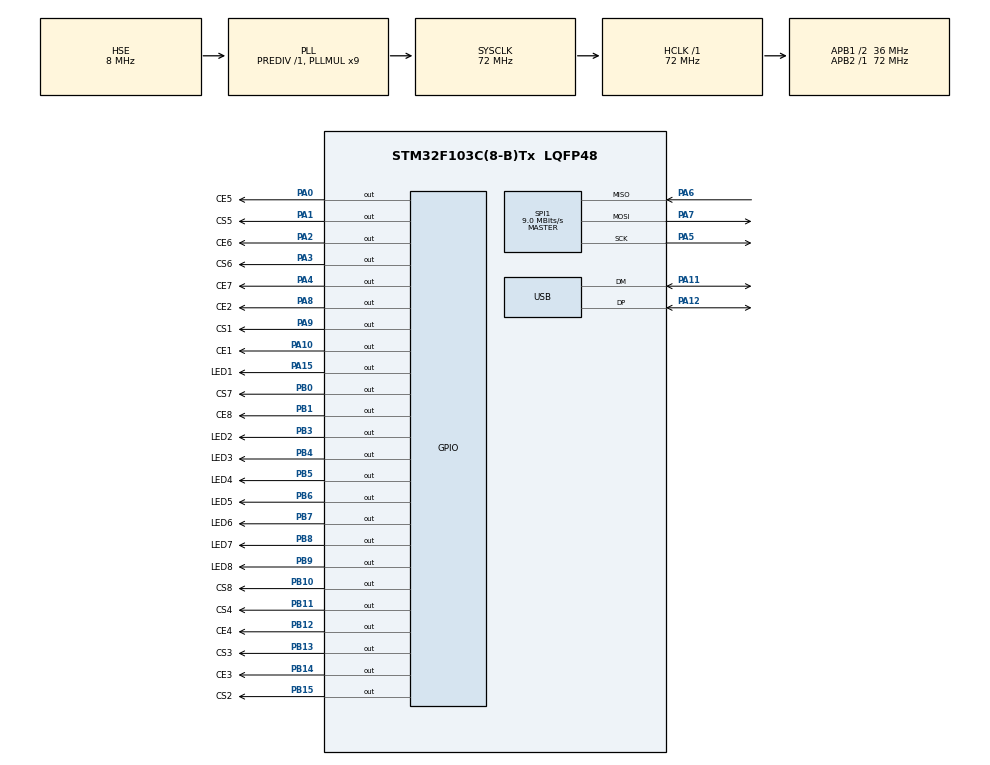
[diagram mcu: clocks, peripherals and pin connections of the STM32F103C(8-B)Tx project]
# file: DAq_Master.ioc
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Mcu.Family=STM32F1
Mcu.Name=STM32F103C(8-B)Tx
Mcu.Package=LQFP48
NVIC.PriorityGroup=NVIC_PRIORITYGROUP_4
NVIC.TIM2_IRQn=true\:0\:0\:false\:false\:true\:true\:true
NVIC.USB_LP_CAN1_RX0_IRQn=true\:0\:0\:false\:false\:true\:false\:true
PA0-WKUP.GPIO_Label=CE5
PA0-WKUP.PinState=GPIO_PIN_SET
PA0-WKUP.Signal=GPIO_Output
PA1.GPIO_Label=CS5
PA1.PinState=GPIO_PIN_RESET
PA1.Signal=GPIO_Output
PA10.GPIO_Label=CE1
PA10.PinState=GPIO_PIN_SET
PA10.Signal=GPIO_Output
PA11.Mode=Device
PA11.Signal=USB_DM
PA12.Mode=Device
PA12.Signal=USB_DP
PA13.Mode=Serial_Wire
PA13.Signal=SYS_JTMS-SWDIO
PA14.Mode=Serial_Wire
PA14.Signal=SYS_JTCK-SWCLK
PA15.GPIO_Label=LED1
PA15.PinState=GPIO_PIN_SET
PA15.Signal=GPIO_Output
PA2.GPIO_Label=CE6
PA2.PinState=GPIO_PIN_SET
PA2.Signal=GPIO_Output
PA3.GPIO_Label=CS6
PA3.PinState=GPIO_PIN_RESET
PA3.Signal=GPIO_Output
PA4.GPIO_Label=CE7
PA4.PinState=GPIO_PIN_SET
PA4.Signal=GPIO_Output
PA5.Mode=Full_Duplex_Master
PA5.Signal=SPI1_SCK
PA6.Mode=Full_Duplex_Master
PA6.Signal=SPI1_MISO
PA7.Mode=Full_Duplex_Master
PA7.Signal=SPI1_MOSI
PA8.GPIO_Label=CE2
PA8.PinState=GPIO_PIN_SET
PA8.Signal=GPIO_Output
PA9.GPIO_Label=CS1
PA9.PinState=GPIO_PIN_RESET
PA9.Signal=GPIO_Output
PB0.GPIO_Label=CS7
PB0.PinState=GPIO_PIN_RESET
PB0.Signal=GPIO_Output
PB1.GPIO_Label=CE8
PB1.PinState=GPIO_PIN_SET
PB1.Signal=GPIO_Output
PB10.GPIO_Label=CS8
PB10.PinState=GPIO_PIN_RESET
PB10.Signal=GPIO_Output
PB11.GPIO_Label=CS4
PB11.PinState=GPIO_PIN_RESET
PB11.Signal=GPIO_Output
PB12.GPIO_Label=CE4
PB12.PinState=GPIO_PIN_SET
PB12.Signal=GPIO_Output
PB13.GPIO_Label=CS3
PB13.PinState=GPIO_PIN_RESET
PB13.Signal=GPIO_Output
PB14.GPIO_Label=CE3
PB14.PinState=GPIO_PIN_SET
PB14.Signal=GPIO_Output
PB15.GPIO_Label=CS2
PB15.PinState=GPIO_PIN_RESET
PB15.Signal=GPIO_Output
PB3.GPIO_Label=LED2
PB3.PinState=GPIO_PIN_SET
PB3.Signal=GPIO_Output
PB4.GPIO_Label=LED3
PB4.PinState=GPIO_PIN_SET
PB4.Signal=GPIO_Output
PB5.GPIO_Label=LED4
PB5.PinState=GPIO_PIN_SET
PB5.Signal=GPIO_Output
PB6.GPIO_Label=LED5
PB6.PinState=GPIO_PIN_SET
PB6.Signal=GPIO_Output
PB7.GPIO_Label=LED6
PB7.PinState=GPIO_PIN_SET
PB7.Signal=GPIO_Output
PB8.GPIO_Label=LED7
PB8.PinState=GPIO_PIN_SET
PB8.Signal=GPIO_Output
PB9.GPIO_Label=LED8
PB9.PinState=GPIO_PIN_SET
PB9.Signal=GPIO_Output
PD0-OSC_IN.Mode=HSE-External-Oscillator
PD0-OSC_IN.Signal=RCC_OSC_IN
PD1-OSC_OUT.Mode=HSE-External-Oscillator
PD1-OSC_OUT.Signal=RCC_OSC_OUT
ProjectManager.HeapSize=0x200
ProjectManager.StackSize=0x400
ProjectManager.TargetToolchain=SW4STM32
RCC.AHBFreq_Value=72000000
RCC.APB1CLKDivider=RCC_HCLK_DIV2
RCC.APB1Freq_Value=36000000
RCC.APB1TimFreq_Value=72000000
RCC.APB2Freq_Value=72000000
RCC.APB2TimFreq_Value=72000000
RCC.HCLKFreq_Value=72000000
RCC.PLLMUL=RCC_PLL_MUL9
RCC.SYSCLKFreq_VALUE=72000000
RCC.SYSCLKSource=RCC_SYSCLKSOURCE_PLLCLK
RCC.USBFreq_Value=48000000
RCC.USBPrescaler=RCC_USBCLKSOURCE_PLL_DIV1_5
SPI1.BaudRatePrescaler=SPI_BAUDRATEPRESCALER_8
SPI1.CalculateBaudRate=9.0 MBits/s
SPI1.Direction=SPI_DIRECTION_2LINES
SPI1.Mode=SPI_MODE_MASTER
SPI1.VirtualType=VM_MASTER
TIM2.AutoReloadPreload=TIM_AUTORELOAD_PRELOAD_ENABLE
TIM2.Period=7200
TIM2.Prescaler=9999
USB_DEVICE.APP_RX_DATA_SIZE=200
USB_DEVICE.APP_TX_DATA_SIZE=200
USB_DEVICE.CLASS_NAME_FS=CDC
USB_DEVICE.MANUFACTURER_STRING=KotEngenharia
USB_DEVICE.PID_CDC_FS=1
USB_DEVICE.PRODUCT_STRING_CDC_FS=DAqMaster
USB_DEVICE.VID=1
USB_DEVICE.VirtualMode=Cdc
USB_DEVICE.VirtualModeFS=Cdc_FS
VP_TIM2_VS_ClockSourceINT.Mode=Internal
VP_TIM3_VS_ClockSourceINT.Mode=Internal
VP_USB_DEVICE_VS_USB_DEVICE_CDC_FS.Mode=CDC_FS
board=Master_21_2.0

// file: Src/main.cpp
/**
 ******************************************************************************
 * @file           : main.c
 * @brief          : Main program body
 ******************************************************************************
 * This notice applies to any and all portions of this file
 * that are not between comment pairs USER CODE BEGIN and
 * USER CODE END. Other portions of this file, whether
 * inserted by the user or by software development tools
 * are owned by their respective copyright owners.
 *
 * Copyright (c) 2018 STMicroelectronics International N.V.
 * All rights reserved.
 *
 * Redistribution and use in source and binary forms, with or without
 * modification, are permitted, provided that the following conditions are met:
 *
 * 1. Redistribution of source code must retain the above copyright notice,
 *    this list of conditions and the following disclaimer.
 * 2. Redistributions in binary form must reproduce the above copyright notice,
 *    this list of conditions and the following disclaimer in the documentation
 *    and/or other materials provided with the distribution.
 * 3. Neither the name of STMicroelectronics nor the names of other
 *    contributors to this software may be used to endorse or promote products
 *    derived from this software without specific written permission.
 * 4. This software, including modifications and/or derivative works of this
 *    software, must execute solely and exclusively on microcontroller or
 *    microprocessor devices manufactured by or for STMicroelectronics.
 * 5. Redistribution and use of this software other than as permitted under
 *    this license is void and will automatically terminate your rights under
 *    this license.
 *
 * THIS SOFTWARE IS PROVIDED BY STMICROELECTRONICS AND CONTRIBUTORS "AS IS"
 * AND ANY EXPRESS, IMPLIED OR STATUTORY WARRANTIES, INCLUDING, BUT NOT
 * LIMITED TO, THE IMPLIED WARRANTIES OF MERCHANTABILITY, FITNESS FOR A
 * PARTICULAR PURPOSE AND NON-INFRINGEMENT OF THIRD PARTY INTELLECTUAL PROPERTY
 * RIGHTS ARE DISCLAIMED TO THE FULLEST EXTENT PERMITTED BY LAW. IN NO EVENT
 * SHALL STMICROELECTRONICS OR CONTRIBUTORS BE LIABLE FOR ANY DIRECT, INDIRECT,
 * INCIDENTAL, SPECIAL, EXEMPLARY, OR CONSEQUENTIAL DAMAGES (INCLUDING, BUT NOT
 * LIMITED TO, PROCUREMENT OF SUBSTITUTE GOODS OR SERVICES; LOSS OF USE, DATA,
 * OR PROFITS; OR BUSINESS INTERRUPTION) HOWEVER CAUSED AND ON ANY THEORY OF
 * LIABILITY, WHETHER IN CONTRACT, STRICT LIABILITY, OR TORT (INCLUDING
 * NEGLIGENCE OR OTHERWISE) ARISING IN ANY WAY OUT OF THE USE OF THIS SOFTWARE,
 * EVEN IF ADVISED OF THE POSSIBILITY OF SUCH DAMAGE.
 *
 ******************************************************************************
 */

#include "main.h"
#include "stm32f1xx_hal.h"
#include "usb_device.h"
#include <vector>

/* USER CODE BEGIN Includes */
#include <stdlib.h>
#include "../../Bibliotecas/nRF24L01.cpp"
#include "usbd_cdc_if.h"

/* USER CODE END Includes */

SPI_HandleTypeDef hspi1;

TIM_HandleTypeDef htim2;
TIM_HandleTypeDef htim3;

/* USER CODE BEGIN PV */
/* Private variables ---------------------------------------------------------*/

/* USER CODE END PV */

void SystemClock_Config(void);
static void MX_GPIO_Init(void);
static void MX_SPI1_Init(void);
static void MX_TIM2_Init(void);
static void MX_TIM3_Init(void);

/* USER CODE BEGIN PFP */
/* Private function prototypes -----------------------------------------------*/

/* USER CODE END PFP */

/* USER CODE BEGIN 0 */
#define DIGITAL 0
#define ANALOG 1

bool mode = ANALOG;
unsigned int indexUSB;
char bufUSB[100];
volatile uint32_t secondsElapsed = 0;

uint8_t pipeData[640];  //Buffer with data received + pipe
uint16_t pipeIndex = 0;

void sendThroughUSB(char* buf, int radioIndex, int pipe) {

	//sprintf((char *) pipeData, "r%d,p%d:", radioIndex, pipe); //Insert pipe
	pipeData[pipeIndex] = ((radioIndex & 0xF)<<4) | (pipe & 0xF);

	pipeIndex++;

	if (mode == DIGITAL) {

		pipeData[1] = buf[0];           //Acx
		pipeData[2] = buf[1];           //^
		pipeData[3] = buf[2];           //Acy
		pipeData[4] = buf[3];          //^
		pipeData[5] = buf[4];          //Acz
		pipeData[6] = buf[5];          //^
		pipeData[7] = buf[6];          //Battery level
		pipeData[8] = buf[7];          //Milliseconds
		pipeData[9] = buf[8];          //^
		pipeData[10] = buf[9];          //^
		pipeData[11] = buf[10];         //^
		CDC_Transmit_FS(pipeData, 12);      //Transmit data through USB

	} else {

		for(int j = 0; j<31; pipeIndex++, j++){
			pipeData[pipeIndex] = buf[j];
		}

		if(usbReady() == USBD_OK){
			CDC_Transmit_FS(pipeData, pipeIndex);
			pipeIndex = 0;
		}
	}
}

void testLEDs() {
	HAL_GPIO_WritePin(LED1_GPIO_Port, LED1_Pin, GPIO_PIN_RESET);
	HAL_Delay(50);
	HAL_GPIO_WritePin(LED1_GPIO_Port, LED1_Pin, GPIO_PIN_SET);
	HAL_GPIO_WritePin(LED2_GPIO_Port, LED2_Pin, GPIO_PIN_RESET);
	HAL_Delay(50);
	HAL_GPIO_WritePin(LED2_GPIO_Port, LED2_Pin, GPIO_PIN_SET);
	HAL_GPIO_WritePin(LED3_GPIO_Port, LED3_Pin, GPIO_PIN_RESET);
	HAL_Delay(50);
	HAL_GPIO_WritePin(LED3_GPIO_Port, LED3_Pin, GPIO_PIN_SET);
	HAL_GPIO_WritePin(LED4_GPIO_Port, LED4_Pin, GPIO_PIN_RESET);
	HAL_Delay(50);
	HAL_GPIO_WritePin(LED4_GPIO_Port, LED4_Pin, GPIO_PIN_SET);
	HAL_GPIO_WritePin(LED5_GPIO_Port, LED5_Pin, GPIO_PIN_RESET);
	HAL_Delay(50);
	HAL_GPIO_WritePin(LED5_GPIO_Port, LED5_Pin, GPIO_PIN_SET);
	HAL_GPIO_WritePin(LED6_GPIO_Port, LED6_Pin, GPIO_PIN_RESET);
	HAL_Delay(50);
	HAL_GPIO_WritePin(LED6_GPIO_Port, LED6_Pin, GPIO_PIN_SET);
	HAL_GPIO_WritePin(LED7_GPIO_Port, LED7_Pin, GPIO_PIN_RESET);
	HAL_Delay(50);
	HAL_GPIO_WritePin(LED7_GPIO_Port, LED7_Pin, GPIO_PIN_SET);
	HAL_GPIO_WritePin(LED8_GPIO_Port, LED8_Pin, GPIO_PIN_RESET);
	HAL_Delay(50);
	HAL_GPIO_WritePin(LED8_GPIO_Port, LED8_Pin, GPIO_PIN_SET);
	HAL_GPIO_WritePin(LED7_GPIO_Port, LED7_Pin, GPIO_PIN_RESET);
	HAL_Delay(50);
	HAL_GPIO_WritePin(LED7_GPIO_Port, LED7_Pin, GPIO_PIN_SET);
	HAL_GPIO_WritePin(LED6_GPIO_Port, LED6_Pin, GPIO_PIN_RESET);
	HAL_Delay(50);
	HAL_GPIO_WritePin(LED6_GPIO_Port, LED6_Pin, GPIO_PIN_SET);
	HAL_GPIO_WritePin(LED5_GPIO_Port, LED5_Pin, GPIO_PIN_RESET);
	HAL_Delay(50);
	HAL_GPIO_WritePin(LED5_GPIO_Port, LED5_Pin, GPIO_PIN_SET);
	HAL_GPIO_WritePin(LED4_GPIO_Port, LED4_Pin, GPIO_PIN_RESET);
	HAL_Delay(50);
	HAL_GPIO_WritePin(LED4_GPIO_Port, LED4_Pin, GPIO_PIN_SET);
	HAL_GPIO_WritePin(LED3_GPIO_Port, LED3_Pin, GPIO_PIN_RESET);
	HAL_Delay(50);
	HAL_GPIO_WritePin(LED3_GPIO_Port, LED3_Pin, GPIO_PIN_SET);
	HAL_GPIO_WritePin(LED2_GPIO_Port, LED2_Pin, GPIO_PIN_RESET);
	HAL_Delay(50);
	HAL_GPIO_WritePin(LED2_GPIO_Port, LED2_Pin, GPIO_PIN_SET);
	HAL_GPIO_WritePin(LED1_GPIO_Port, LED1_Pin, GPIO_PIN_RESET);
	HAL_Delay(50);
	HAL_GPIO_WritePin(LED1_GPIO_Port, LED1_Pin, GPIO_PIN_SET);
}

void toggleLED(uint8_t led) {
	switch (led) {
	case 1:
		HAL_GPIO_TogglePin(LED1_GPIO_Port, LED1_Pin);
		break;
	case 2:
		HAL_GPIO_TogglePin(LED2_GPIO_Port, LED2_Pin);
		break;
	case 3:
		HAL_GPIO_TogglePin(LED3_GPIO_Port, LED3_Pin);
		break;
	case 4:
		HAL_GPIO_TogglePin(LED4_GPIO_Port, LED4_Pin);
		break;
	case 5:
		HAL_GPIO_TogglePin(LED5_GPIO_Port, LED5_Pin);
		break;
	case 6:
		HAL_GPIO_TogglePin(LED6_GPIO_Port, LED6_Pin);
		break;
	case 7:
		HAL_GPIO_TogglePin(LED7_GPIO_Port, LED7_Pin);
		break;
	case 8:
		HAL_GPIO_TogglePin(LED8_GPIO_Port, LED8_Pin);
		break;
	}
}

/* USER CODE END 0 */

int main(void) {

	/* MCU Configuration----------------------------------------------------------*/

	/* Reset of all peripherals, Initializes the Flash interface and the Systick. */
	HAL_Init();

	/* Configure the system clock */
	SystemClock_Config();

	/* Initialize all configured peripherals */
	MX_GPIO_Init();
	MX_SPI1_Init();
	MX_USB_DEVICE_Init();
	MX_TIM2_Init();
	MX_TIM3_Init();
	/* USER CODE BEGIN 2 */
	HAL_Delay(200);

	testLEDs();

	char RF24buf[100];      //Buffer to receive data from nRF24
	int _radio = 0, _pipe;      		//Var to store the data's last pipe
	unsigned int indexAux;
	volatile bool started = false;
	bool activesRadios[] = {false, false, false, true, false, false, false, false};

	std::vector<nRF24> radio = { { &hspi1, 31, 30, 5 }, { &hspi1, 29, 28, 10 },
			{ &hspi1, 27, 26, 15 }, { &hspi1, 25, 22, 20 },
			{ &hspi1, 10, 11, 25 }, { &hspi1, 12, 13, 30 },
			{ &hspi1, 14, 18, 35 }, { &hspi1, 19, 21, 40 } };

	// uint8_t rf[100];
	// uint32_t sampleCounter = 0;

	// while(1){
	// 	if(radio[3].available()){
	// 		radio[3].read((char *)rf);
	// 		/*sampleCounter = (rf[8] & 0xff);				//SampleCounter
	// 		sampleCounter += ((rf[9])<<8);		//^
	// 		sampleCounter += ((rf[10])<<16);	//^
	// 		sampleCounter += ((rf[11])<<24);	//^
	// 		sprintf(RF24buf, "%d", sampleCounter);
	// 		CDC_Transmit_FS((uint8_t *)RF24buf, strlen(RF24buf));
	// 		*/
	// 		CDC_Transmit_FS((uint8_t *)rf, strlen((char*)rf));
	// 	}
	// }
	/*
	uint32_t counter = 0;
	char teste[] = "teste1teste2teste4teste1teste2teste4teste1teste2teste4";
	unsigned char t[200];

	while(1) {
		sprintf((char*) t, "%s, %lu\n", teste, counter++);
		//USBD_LL_Transmit(&hUsbDeviceFS, CDC_IN_EP, t, strlen((char *) t));
		//USBD_CDC_TransmitPacket(&hUsbDeviceFS);
		//while(!hUsbDeviceFS.pClass->EP0_TxSent);
		while(CDC_Transmit_FS((uint8_t *)t, strlen((char *)t))==USBD_BUSY);
	}*/

	while (1) {
		//Config routine
		while (!started) {
			if (indexUSB) {
				if (!strncmp((char *) bufUSB, "enablePipe", 10)) { //Check if it's required to enable a pipe
					_radio = atoi((const char*) (bufUSB + 11));
					radio[_radio].activePipes[atoi((const char*) (bufUSB + 13))] =
							true;
					radio[_radio].enablePipe(atoi((const char*) (bufUSB + 13))); //Enable the required pipe
				} else if (!strncmp((char *) bufUSB, "disablePipe", 11)) { //Check if it's required to disable a pipe
					_radio = atoi((const char*) (bufUSB + 12));
					radio[_radio].activePipes[atoi((const char*) (bufUSB + 14))] =
							false;
					radio[_radio].disablePipe(
							atoi((const char*) (bufUSB + 14))); //Disable the required pipe
				} else if (!strncmp((char *) bufUSB, "digital", 7)) { //Change to digital mode
					mode = DIGITAL;
				} else if (!strncmp((char *) bufUSB, "analog", 6)) { //Change to analog mode
					mode = ANALOG;
				} else if (!strncmp((char *) bufUSB, "getOffset", 9)) { //Get the offset of each channel
					_radio = atoi((const char*) (bufUSB + 10));

					radio[_radio].send("offset", 6, 0);

					secondsElapsed = 0;
					HAL_TIM_Base_Start_IT(&htim2);
					for(uint32_t i = secondsElapsed; secondsElapsed < 3 && !radio[_radio].available();){
						if(secondsElapsed - i) {
							testLEDs();
							radio[_radio].send("offset", 6, 0);
							i = secondsElapsed;
						}
					}
					HAL_TIM_Base_Stop_IT(&htim2);
					secondsElapsed = 0;

					if(radio[_radio].available()){
						radio[_radio].read(RF24buf);
						CDC_Transmit_FS((unsigned char *)RF24buf, strlen(RF24buf));
					} else {
						CDC_Transmit_FS((unsigned char *)"TIMEOUT", 7);
					}
				} else if (!strncmp((char *) bufUSB, "getCalibration", 14)) { //Get the offset of each channel
					_radio = atoi((const char*) (bufUSB + 15));

					radio[_radio].send("calibration", 11, 0);
					radio[_radio].available();

					secondsElapsed = 0;
					HAL_TIM_Base_Start_IT(&htim2);
					for(uint32_t i = secondsElapsed; (secondsElapsed < 3) && (!radio[_radio].available());){
						if(secondsElapsed - i) {
							testLEDs();
							radio[_radio].send("calibration", 6, 0);
							i = secondsElapsed;

						}
					}
					HAL_TIM_Base_Stop_IT(&htim2);
					secondsElapsed = 0;

					if(radio[_radio].available()) {
						radio[_radio].read(RF24buf);
						CDC_Transmit_FS((unsigned char *)RF24buf, strlen(RF24buf));
					} else {
						CDC_Transmit_FS((unsigned char *)"TIMEOUT", 7);
					}
				} else if (!strncmp(bufUSB, "start", 5)) {
					testLEDs();
					started = true;
					for (int j = 0; j < 8; j++) {
						for (int k = 0; k < 6; k++) {
							if (radio[j].activePipes[k]) {
								radio[j].send("start", 5, k);
								HAL_Delay(1);
							}
						}
					}
				} else {
					_radio = atoi(bufUSB + 1);   //Get the destination radio
					toggleLED(_radio + 1);
					_pipe = atoi(bufUSB + 3);   //Get the destination pipe
					bufUSB[indexUSB] = '\0'; //Ignores the next received USB
					indexAux = indexUSB;

					radio[_radio].send(bufUSB + 5, indexAux - 5, _pipe); //Send the message
					HAL_Delay(100);
					toggleLED(_radio + 1);
				}

				indexUSB = 0;       //Reset the index USB buffer
				bufUSB[0] = '\0';   //Reset the USB buffer
			}

		}

		//Receive routine
		while (started) {
			for (int i = 0; i < 8; i++) {
				if(activesRadios[i]){
					if (radio[i].available()) {
						_pipe = radio[i].available() - 1;
						switch (i) {
						case 0:
							HAL_GPIO_WritePin(LED1_GPIO_Port, LED1_Pin, GPIO_PIN_RESET);
							radio[i].read(RF24buf);
							sendThroughUSB(RF24buf, i, _pipe);
							HAL_GPIO_WritePin(LED1_GPIO_Port, LED1_Pin, GPIO_PIN_SET);
							break;
						case 1:
							HAL_GPIO_WritePin(LED2_GPIO_Port, LED2_Pin,
									GPIO_PIN_RESET);
							radio[i].read(RF24buf);
							sendThroughUSB(RF24buf, i, _pipe);
							HAL_GPIO_WritePin(LED2_GPIO_Port, LED2_Pin,
									GPIO_PIN_SET);
							break;
						case 2:
							HAL_GPIO_WritePin(LED3_GPIO_Port, LED3_Pin,
									GPIO_PIN_RESET);
							radio[i].read(RF24buf);
							sendThroughUSB(RF24buf, i, _pipe);
							HAL_GPIO_WritePin(LED3_GPIO_Port, LED3_Pin,
									GPIO_PIN_SET);
							break;
						case 3:
							 HAL_GPIO_WritePin(LED4_GPIO_Port, LED4_Pin,
							 		GPIO_PIN_RESET);
							radio[i].read(RF24buf);
							 sendThroughUSB(RF24buf, i, _pipe);
							HAL_GPIO_WritePin(LED4_GPIO_Port, LED4_Pin,
							 		GPIO_PIN_SET);
							break;
						case 4:
							HAL_GPIO_WritePin(LED5_GPIO_Port, LED5_Pin,
									GPIO_PIN_RESET);
							radio[i].read(RF24buf);
							sendThroughUSB(RF24buf, i, _pipe);
							HAL_GPIO_WritePin(LED5_GPIO_Port, LED5_Pin,
									GPIO_PIN_SET);
							break;
						case 5:
							HAL_GPIO_WritePin(LED6_GPIO_Port, LED6_Pin,
									GPIO_PIN_RESET);
							radio[i].read(RF24buf);
							sendThroughUSB(RF24buf, i, _pipe);
							HAL_GPIO_WritePin(LED6_GPIO_Port, LED6_Pin,
									GPIO_PIN_SET);
							break;
						case 6:
							HAL_GPIO_WritePin(LED7_GPIO_Port, LED7_Pin,
									GPIO_PIN_RESET);
							radio[i].read(RF24buf);
							sendThroughUSB(RF24buf, i, _pipe);
							HAL_GPIO_WritePin(LED7_GPIO_Port, LED7_Pin,
									GPIO_PIN_SET);
							break;
						case 7:
							HAL_GPIO_WritePin(LED8_GPIO_Port, LED8_Pin,
									GPIO_PIN_RESET);
							radio[i].read(RF24buf);
							sendThroughUSB(RF24buf, i, _pipe);
							HAL_GPIO_WritePin(LED8_GPIO_Port, LED8_Pin,
									GPIO_PIN_SET);
							break;
						}
					}
				}
				if (indexUSB) {                  //If there's available USB data
					if (!strncmp((char*) bufUSB, "stop", 4)) { //Check if the message is a 'stop' message
						started = false;
						radio[_radio].Flush();
						for (int j = 0; j < 8; j++) {
							if(activesRadios[j]){
								for (int k = 0; k < 6; k++) {
									if (radio[j].activePipes[k]) {
										radio[j].sendInTheNextReceive("stop", 4, k);
										HAL_Delay(5);
									}
								}
							}
						}
					} else {   //Check if the message isn't a 'stop' message
						_radio = atoi(bufUSB + 1);   //Get the destination pipe
						_pipe = atoi(bufUSB + 3);   //Get the destination pipe
						bufUSB[indexUSB] = '\0'; //Ignores the next received USB
						indexAux = indexUSB;

						radio[_radio].send(bufUSB + 5, indexAux - 5, _pipe); //Send the message
					}
					indexUSB = 0;       //Reset the index USB buffer
					bufUSB[0] = '\0';   //Reset the USB buffer
				}
			}
		}
	}

	/* USER CODE END 2 */

	/* Infinite loop */
	while (1) {

		/* USER CODE BEGIN 3 */
		radio[0].send("teste\r\n", 7, 0);
		HAL_GPIO_TogglePin(LED1_GPIO_Port, LED1_Pin);
		HAL_Delay(250);

	}
	/* USER CODE END 3 */

}

void SystemClock_Config(void)
{
  RCC_OscInitTypeDef RCC_OscInitStruct = {0};
  RCC_ClkInitTypeDef RCC_ClkInitStruct = {0};
  RCC_PeriphCLKInitTypeDef PeriphClkInit = {0};

  /** Initializes the CPU, AHB and APB busses clocks
  */
  RCC_OscInitStruct.OscillatorType = RCC_OSCILLATORTYPE_HSE;
  RCC_OscInitStruct.HSEState = RCC_HSE_ON;
  RCC_OscInitStruct.HSEPredivValue = RCC_HSE_PREDIV_DIV1;
  RCC_OscInitStruct.HSIState = RCC_HSI_ON;
  RCC_OscInitStruct.PLL.PLLState = RCC_PLL_ON;
  RCC_OscInitStruct.PLL.PLLSource = RCC_PLLSOURCE_HSE;
  RCC_OscInitStruct.PLL.PLLMUL = RCC_PLL_MUL9;
  if (HAL_RCC_OscConfig(&RCC_OscInitStruct) != HAL_OK)
  {
    Error_Handler();
  }
  /** Initializes the CPU, AHB and APB busses clocks
  */
  RCC_ClkInitStruct.ClockType = RCC_CLOCKTYPE_HCLK|RCC_CLOCKTYPE_SYSCLK
                              |RCC_CLOCKTYPE_PCLK1|RCC_CLOCKTYPE_PCLK2;
  RCC_ClkInitStruct.SYSCLKSource = RCC_SYSCLKSOURCE_PLLCLK;
  RCC_ClkInitStruct.AHBCLKDivider = RCC_SYSCLK_DIV1;
  RCC_ClkInitStruct.APB1CLKDivider = RCC_HCLK_DIV2;
  RCC_ClkInitStruct.APB2CLKDivider = RCC_HCLK_DIV1;

  if (HAL_RCC_ClockConfig(&RCC_ClkInitStruct, FLASH_LATENCY_2) != HAL_OK)
  {
    Error_Handler();
  }
  PeriphClkInit.PeriphClockSelection = RCC_PERIPHCLK_USB;
  PeriphClkInit.UsbClockSelection = RCC_USBCLKSOURCE_PLL_DIV1_5;
  if (HAL_RCCEx_PeriphCLKConfig(&PeriphClkInit) != HAL_OK)
  {
    Error_Handler();
  }
}

static void MX_SPI1_Init(void)
{

  /* SPI1 parameter configuration*/
  hspi1.Instance = SPI1;
  hspi1.Init.Mode = SPI_MODE_MASTER;
  hspi1.Init.Direction = SPI_DIRECTION_2LINES;
  hspi1.Init.DataSize = SPI_DATASIZE_8BIT;
  hspi1.Init.CLKPolarity = SPI_POLARITY_LOW;
  hspi1.Init.CLKPhase = SPI_PHASE_1EDGE;
  hspi1.Init.NSS = SPI_NSS_SOFT;
  hspi1.Init.BaudRatePrescaler = SPI_BAUDRATEPRESCALER_8;
  hspi1.Init.FirstBit = SPI_FIRSTBIT_MSB;
  hspi1.Init.TIMode = SPI_TIMODE_DISABLE;
  hspi1.Init.CRCCalculation = SPI_CRCCALCULATION_DISABLE;
  hspi1.Init.CRCPolynomial = 10;
  if (HAL_SPI_Init(&hspi1) != HAL_OK)
  {
    Error_Handler();
  }

}

static void MX_TIM2_Init(void)
{

  TIM_ClockConfigTypeDef sClockSourceConfig = {0};
  TIM_MasterConfigTypeDef sMasterConfig = {0};

  htim2.Instance = TIM2;
  htim2.Init.Prescaler = 9999;
  htim2.Init.CounterMode = TIM_COUNTERMODE_UP;
  htim2.Init.Period = 7200;
  htim2.Init.ClockDivision = TIM_CLOCKDIVISION_DIV1;
  htim2.Init.AutoReloadPreload = TIM_AUTORELOAD_PRELOAD_ENABLE;
  if (HAL_TIM_Base_Init(&htim2) != HAL_OK)
  {
    Error_Handler();
  }
  sClockSourceConfig.ClockSource = TIM_CLOCKSOURCE_INTERNAL;
  if (HAL_TIM_ConfigClockSource(&htim2, &sClockSourceConfig) != HAL_OK)
  {
    Error_Handler();
  }
  sMasterConfig.MasterOutputTrigger = TIM_TRGO_RESET;
  sMasterConfig.MasterSlaveMode = TIM_MASTERSLAVEMODE_DISABLE;
  if (HAL_TIMEx_MasterConfigSynchronization(&htim2, &sMasterConfig) != HAL_OK)
  {
    Error_Handler();
  }

}

static void MX_TIM3_Init(void)
{

  TIM_ClockConfigTypeDef sClockSourceConfig = {0};
  TIM_MasterConfigTypeDef sMasterConfig = {0};

  htim3.Instance = TIM3;
  htim3.Init.Prescaler = 0;
  htim3.Init.CounterMode = TIM_COUNTERMODE_UP;
  htim3.Init.Period = 0;
  htim3.Init.ClockDivision = TIM_CLOCKDIVISION_DIV1;
  htim3.Init.AutoReloadPreload = TIM_AUTORELOAD_PRELOAD_DISABLE;
  if (HAL_TIM_Base_Init(&htim3) != HAL_OK)
  {
    Error_Handler();
  }
  sClockSourceConfig.ClockSource = TIM_CLOCKSOURCE_INTERNAL;
  if (HAL_TIM_ConfigClockSource(&htim3, &sClockSourceConfig) != HAL_OK)
  {
    Error_Handler();
  }
  sMasterConfig.MasterOutputTrigger = TIM_TRGO_RESET;
  sMasterConfig.MasterSlaveMode = TIM_MASTERSLAVEMODE_DISABLE;
  if (HAL_TIMEx_MasterConfigSynchronization(&htim3, &sMasterConfig) != HAL_OK)
  {
    Error_Handler();
  }

}

static void MX_GPIO_Init(void)
{
  GPIO_InitTypeDef GPIO_InitStruct = {0};

  /* GPIO Ports Clock Enable */
  __HAL_RCC_GPIOD_CLK_ENABLE();
  __HAL_RCC_GPIOA_CLK_ENABLE();
  __HAL_RCC_GPIOB_CLK_ENABLE();

  /*Configure GPIO pin Output Level */
  HAL_GPIO_WritePin(GPIOA, CE5_Pin|CE6_Pin|CE7_Pin|CE2_Pin
                          |CE1_Pin|LED1_Pin, GPIO_PIN_SET);

  /*Configure GPIO pin Output Level */
  HAL_GPIO_WritePin(GPIOA, CS5_Pin|CS6_Pin|CS1_Pin, GPIO_PIN_RESET);

  /*Configure GPIO pin Output Level */
  HAL_GPIO_WritePin(GPIOB, CS7_Pin|CS8_Pin|CS4_Pin|CS3_Pin
                          |CS2_Pin, GPIO_PIN_RESET);

  /*Configure GPIO pin Output Level */
  HAL_GPIO_WritePin(GPIOB, CE8_Pin|CE4_Pin|CE3_Pin|LED2_Pin
                          |LED3_Pin|LED4_Pin|LED5_Pin|LED6_Pin
                          |LED7_Pin|LED8_Pin, GPIO_PIN_SET);

  /*Configure GPIO pins : CE5_Pin CS5_Pin CE6_Pin CS6_Pin
                           CE7_Pin CE2_Pin CS1_Pin CE1_Pin
                           LED1_Pin */
  GPIO_InitStruct.Pin = CE5_Pin|CS5_Pin|CE6_Pin|CS6_Pin
                          |CE7_Pin|CE2_Pin|CS1_Pin|CE1_Pin
                          |LED1_Pin;
  GPIO_InitStruct.Mode = GPIO_MODE_OUTPUT_PP;
  GPIO_InitStruct.Pull = GPIO_NOPULL;
  GPIO_InitStruct.Speed = GPIO_SPEED_FREQ_LOW;
  HAL_GPIO_Init(GPIOA, &GPIO_InitStruct);

  /*Configure GPIO pins : CS7_Pin CE8_Pin CS8_Pin CS4_Pin
                           CE4_Pin CS3_Pin CE3_Pin CS2_Pin
                           LED2_Pin LED3_Pin LED4_Pin LED5_Pin
                           LED6_Pin LED7_Pin LED8_Pin */
  GPIO_InitStruct.Pin = CS7_Pin|CE8_Pin|CS8_Pin|CS4_Pin
                          |CE4_Pin|CS3_Pin|CE3_Pin|CS2_Pin
                          |LED2_Pin|LED3_Pin|LED4_Pin|LED5_Pin
                          |LED6_Pin|LED7_Pin|LED8_Pin;
  GPIO_InitStruct.Mode = GPIO_MODE_OUTPUT_PP;
  GPIO_InitStruct.Pull = GPIO_NOPULL;
  GPIO_InitStruct.Speed = GPIO_SPEED_FREQ_LOW;
  HAL_GPIO_Init(GPIOB, &GPIO_InitStruct);

}

/* USER CODE BEGIN 4 */
//Timer IRQ handle
void HAL_TIM_PeriodElapsedCallback(TIM_HandleTypeDef *htim){
	if(htim == &htim2) {
		secondsElapsed++;
	}
}

/* USER CODE END 4 */

void Error_Handler(void)
{
}

/************************ (C) COPYRIGHT STMicroelectronics *****END OF FILE****/
